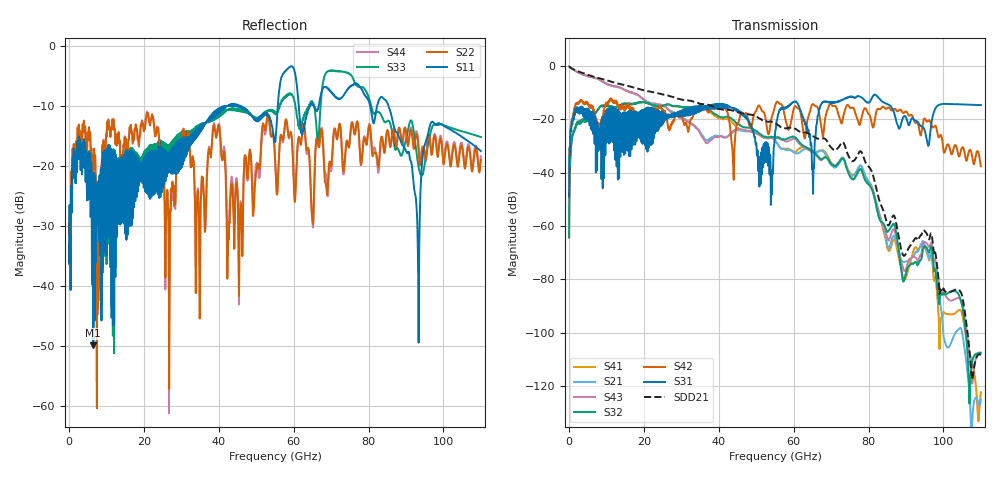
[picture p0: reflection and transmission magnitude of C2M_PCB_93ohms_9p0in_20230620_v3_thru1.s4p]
! Info: Touchstone file created by Circ.  Input file=C2M_PCB_93ohms_9p0in_20230620_v3.circ
# Hz S RI R 50
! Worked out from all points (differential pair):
!   11000 points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, 10 MHz to 110 GHz, reference 50 ohm
!   strongest paths, dB at 10 MHz, 27.51 GHz, 55.01 GHz, 82.51 GHz, 110 GHz:
!     S31: -49.1, -18.2, -25.4, -11.7, -14.7
!     S42: -48.9, -21.0, -15.0, -16.1, -37.6
!     S32: -64.2, -14.9, -26.7, -55.5, -107.5
!     S43: -0.1, -17.5, -27.1, -53.5, -107.7
!     S21: -0.1, -17.2, -27.7, -55.3, -124.9
!     S41: -64.2, -15.1, -27.9, -54.4, -122.3
!   taken as a pair (ports 3,1 in; 4,2 out), SDD21 dB: -0.1, -11.6, -21.4, -48.6, -108.7
!   lowest |S11| = -49.8 dB at 6.47 GHz (marker M1), VSWR 1.01, Z = 50.1 + j0.288 ohm
!   |S11| at or under -10 dB: start of sweep to 42.27 GHz; 45.48 GHz to 55.77 GHz (10.29 GHz wide, 20.3 % of centre); 85.29 GHz to end of sweep (the widest 3 of 15)
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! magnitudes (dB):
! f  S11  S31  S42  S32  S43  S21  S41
! 10 MHz  -36.2  -49.1  -48.9  -64.2  -0.1  -0.1  -64.2
! 6.47 GHz  -49.8  -25.0  -16.9  -18.5  -4.4  -4.4  -18.4
! 54.02 GHz  -12.9  -40.4  -19.9  -26.6  -27.0  -26.9  -27.0
! 60.15 GHz  -4.1  -13.3  -15.5  -26.7  -27.3  -32.5  -32.5
! 65.04 GHz  -9.8  -37.7  -14.4  -32.1  -32.5  -32.1  -31.8
! 89.48 GHz  -16.9  -18.9  -17.5  -80.4  -76.8  -73.5  -79.8
! 110 GHz  -17.5  -14.7  -37.6  -107.5  -107.7  -124.9  -122.3
